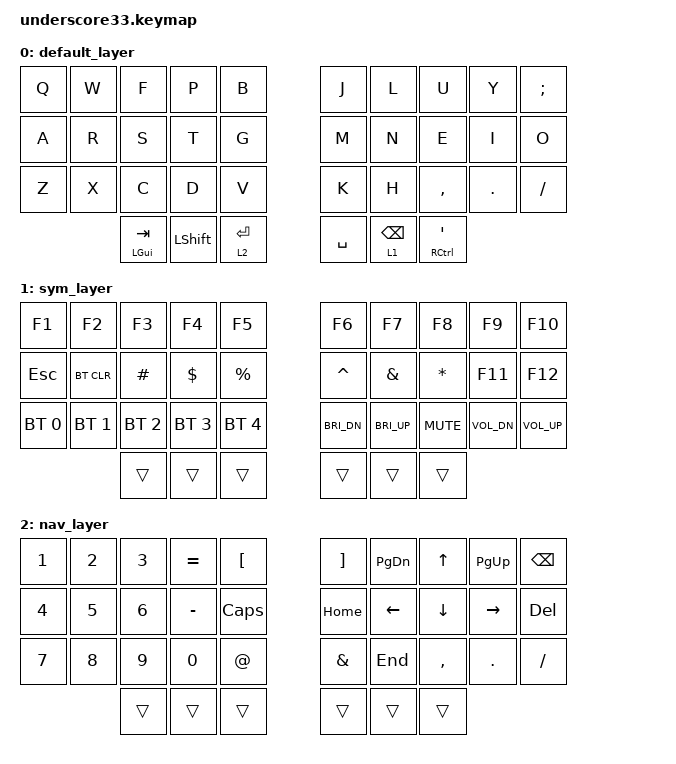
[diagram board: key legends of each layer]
/*
 * Copyright (c) 2020 The ZMK Contributors
 *
 * SPDX-License-Identifier: MIT
 */

// This key-map file WILL NOT WORK FOR YOU, you will need to modify it. I really do not recommend adapting to it.
// This key-map file is set-up to be the full space layout.
// I strongly urge you to customise your firmware to suit your usage.
// Please feel free to join the ZMK server at https://discord.gg/TdRMQaTYdF for help.

#include <behaviors.dtsi>
#include <dt-bindings/zmk/keys.h>
#include <dt-bindings/zmk/bt.h>

/ {

behaviors {
      hm: homerow_mods {
        compatible = "zmk,behavior-hold-tap";
        label = "HOMEROW_MODS";
        #binding-cells = <2>;
        tapping_term_ms = <300>;
        flavor = "tap-preferred";
        bindings = <&kp>, <&kp>;
    };

    combos {
    compatible = "zmk,combos";
    combo_del {
        timeout-ms = <50>;
        key-positions = <18 19>;
        bindings = <&kp DEL>;
        layers = <1>;
    };
    combo_bspc {
        timeout-ms = <50>;
        key-positions = <8 9>;
        bindings = <&kp BKSP>;
        layers = <0 1>;
    };
    combo_tab {
        timeout-ms = <50>;
        key-positions = <0 1>;
        bindings = <&kp TAB>;
        layers = <0>;

    };
    combo_esc {
        timeout-ms = <50>;
        key-positions = <1 2>;
        bindings = <&kp ESC>;
        layers = <0>;

    };
};

};
        keymap {
                compatible = "zmk,keymap";

                default_layer {
// -----------------------------------------------------------------------------------------
// |  Q  |  W  |  F  |  P  |  B   |  J  |  L   |  U  |  Y  |  ;  |
// |  A  |  R  |  S  |  T  |  G   |  M  |  N   |  E  |  I  |  O  |
// |  Z  |  X  |  C  |  D  |  V   |  K  |  H   |  ,  |  .  |  /  |
//             | LGUI(tab) | LSHIFT |  LT2(ENT) | SPC | LT1(BACKSPACE)  | RCTRL(APOSTROPHE) |
                        bindings = <
   &kp Q        &kp W     &kp F     &kp P &kp B   &kp J &kp L  &kp U     &kp Y   &kp SEMICOLON
   &kp A        &kp R     &kp S     &kp T &kp G   &kp M &kp N  &kp E     &kp I   &kp O
   &kp Z        &kp X     &kp C     &kp D &kp V   &kp K &kp H  &kp COMMA &kp DOT &kp FSLH
                      &hm LGUI TAB &kp LSHFT &lt 2 RET &kp SPC &lt 1 BACKSPACE &hm RCTRL APOSTROPHE
                        >;
                };

                sym_layer {
// -----------------------------------------------------------------------------------------
// |  F1  |  F2       |  F3   |  F4   |  F5   |  F6      |  F7      |  F8    |  F9    |  F10  |
// |  ESC  |  BT_CLR  |  #    |  $    |  %    |  ^       |  &       |  *     |  F11   |  F12  |
// |  BT0  |  BT1     |  BT2  |  BT3  |  BT4  |  BRI_DN  |  BRI_UP  |  MUTE  |  Vol-  |  Vol+  |
//                           | Trans | Trans |  Trans | Trans | Trans  | Trans |
                        bindings = <
   &kp F1        &kp F2        &kp F3        &kp F4          &kp F5         &kp F6        &kp F7        &kp F8     &kp F9       &kp F10
   &kp ESC       &bt BT_CLR    &kp HASH      &kp DOLLAR      &kp PRCNT      &kp CARET     &kp AMPS      &kp STAR   &kp F11      &kp F12
   &bt BT_SEL 0  &bt BT_SEL 1  &bt BT_SEL 2  &bt BT_SEL 3    &bt BT_SEL 4   &kp C_BRI_DN  &kp C_BRI_UP  &kp C_MUTE &kp C_VOL_DN &kp C_VOL_UP
   &trans    &trans    &trans    &trans      &trans      &trans
                        >;
                };

                nav_layer {
// -----------------------------------------------------------------------------------------
// | 1 | 2 |  3  |   =   |   [   |  ]    | PGDN |  UP  | PGUP |   BACKSPACE   |
// | 4 | 5 |  6  |   -   |  CAPS |  HOME | LEFT | DOWN |RIGHT | DEL  |
// | 7 | 8 |  9  |   0   |   @   |   &   |  END |  ,   |   .  |  ?   |
//             | Trans | Trans |  Trans | Trans | Trans  | Trans |
                        bindings = <
   &kp N1   &kp N2      &kp N3  &kp EQUAL &kp LEFT_BRACKET     &kp RIGHT_BRACKET    &kp PG_DN  &kp UP    &kp PG_UP &kp BACKSPACE
   &kp N4   &kp N5      &kp N6  &kp MINUS &kp CAPS             &kp HOME             &kp LEFT   &kp DOWN  &kp RIGHT &kp DEL
   &kp N7   &kp N8      &kp N9  &kp N0    &kp AT               &kp AMPS                &kp END    &kp COMMA &kp DOT   &kp FSLH
   &trans   &trans    &trans     &trans   &trans   &trans
                        >;
                };


        };
};
